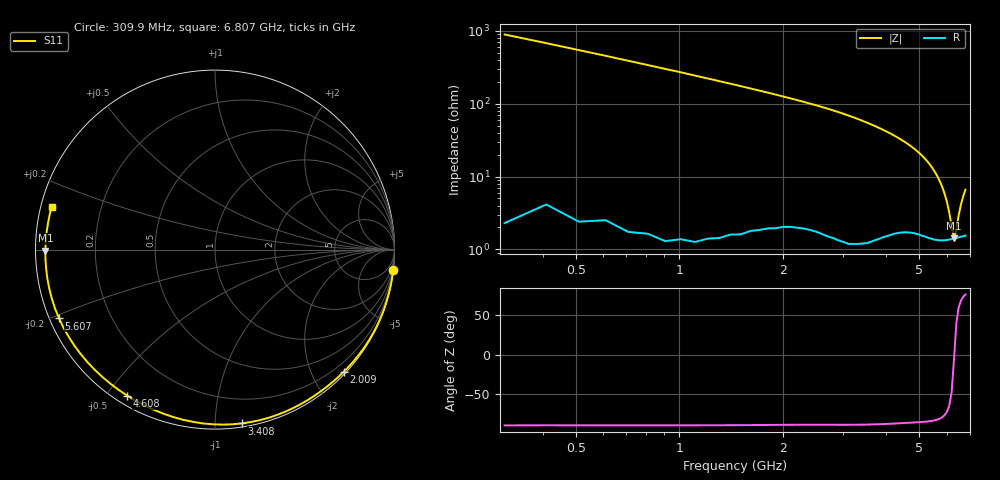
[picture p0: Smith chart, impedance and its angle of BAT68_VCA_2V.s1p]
! Infineon Technologies  Discrete & RF Semiconductors
! BAT68
! VCA = 2 V
! One-Port S-Parameters
# Hz  S  MA  R  50
!f  S11
!Hz  Mag  Ang
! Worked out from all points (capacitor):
!   66 points, 309.9 MHz to 6.807 GHz, reference 50 ohm
!   read as one part to ground: C = 572 fF near 309.9 MHz
!   lowest |Z| = 1.42 ohm at 6.307 GHz (marker M1)
!   series resonance near 6.317 GHz, so ESL is about 1.1 nH
!   S11 on the Smith chart (normalised r, x): 309.9 MHz: 0, -18; 2.009 GHz: 0.04, -2.50; 3.408 GHz: 0.02, -1.17; 4.608 GHz: 0.03, -0.57; 5.607 GHz: 0.03, -0.21; 6.807 GHz: 0.03, +0.13
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3.0985e8  0.9997 -6.4
5.0975e8  0.9992 -10.5
8.096e8  0.9986 -16.8
1.0095e9  0.9982 -21.0
1.2094e9  0.9973 -25.4
1.6092e9  0.9938 -34.3
2.009e9  0.9888 -43.6
2.30885e9  0.9859 -50.7
2.50875e9  0.9849 -55.7
2.8086e9  0.9842 -63.6
3.10845e9  0.9836 -72.1
3.4083e9  0.9798 -81.2
3.6082e9  0.9759 -87.5
3.8081e9  0.9707 -94.0
4.008e9  0.9647 -100.6
4.2079e9  0.9585 -107.3
4.4078e9  0.9531 -114.1
4.6077e9  0.9494 -120.9
4.90755e9  0.9471 -131.4
5.10745e9  0.9477 -138.4
5.2074e9  0.9479 -142.0
5.4073e9  0.9489 -149.1
5.6072e9  0.9495 -156.2
5.8071e9  0.9492 -163.1
6.007e9  0.9479 -169.9
6.30685e9  0.9452 -179.7
6.50675e9  0.9432 174.2
6.8066e9  0.9409 165.4
